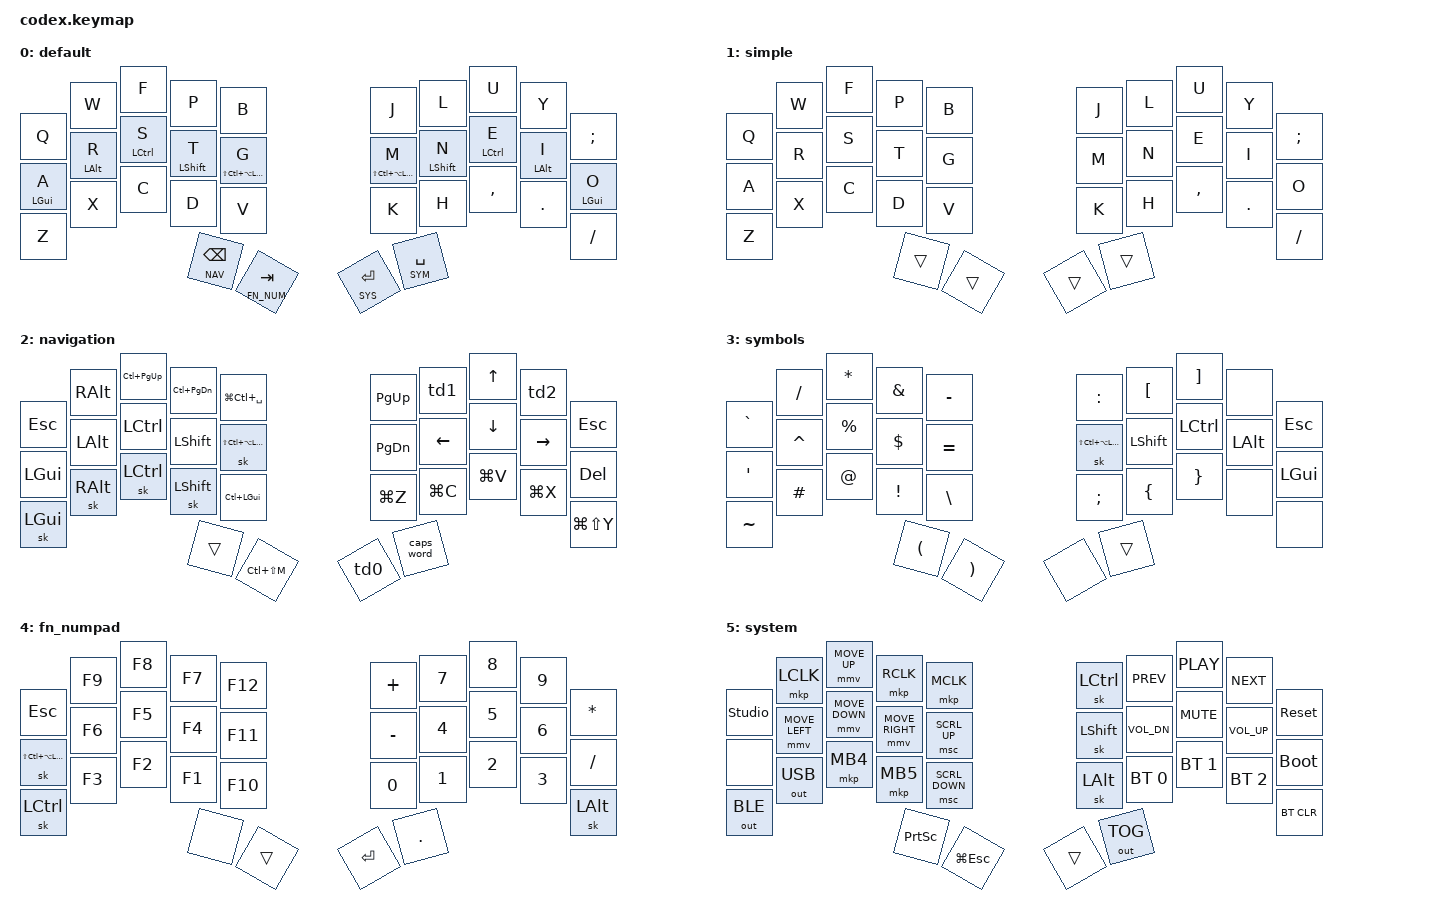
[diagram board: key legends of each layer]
// Copyright (c) 2022 The ZMK Contributors
// SPDX-License-Identifier: MIT

#include <behaviors.dtsi>
#include <dt-bindings/zmk/keys.h>
#include <dt-bindings/zmk/bt.h>
#include <dt-bindings/zmk/outputs.h>
#include <dt-bindings/zmk/ext_power.h>
#include <dt-bindings/zmk/pointing.h>

// Layers
// 0 Default
// 1 Simple Colemak layer without home row mods or layer switching
// 2 Navigation
// 3 Symbols
// 4 Function keys and numpad
// 5 System
#define DEFAULT 0
#define SIMPLE 1
#define NAV 2
#define SYM 3
#define FN_NUM 4
#define SYS 5

// Custom keycodes
#define HYP LS(LC(LA(LGUI)))
#define CWSPACE LG(LC(SPACE))
#define HYPER(key) LS(LC(LA(LG(key))))

// Key positions
#define KEYS_L 0 1 2 3 4 10 11 12 13 14 20 21 22 23 24
#define KEYS_R 5 6 7 8 9 15 16 17 18 19 25 26 27 28 29
#define THUMBS_L 30 31
#define THUMBS_R 32 33

// Make sticky keys lazy so they don't activate until the next key press
&sk {
    lazy;
};

/ {
    behaviors {
        lhrm: left_homerow_mods {
            compatible = "zmk,behavior-hold-tap";
            label = "HOMEROW_MODS";
            #binding-cells = <2>;
            tapping-term-ms = <200>;
            quick-tap-ms = <175>;
            require-prior-idle-ms = <150>;
            flavor = "balanced";
            bindings = <&kp>, <&kp>;
            hold-trigger-key-positions = <KEYS_R THUMBS_L THUMBS_R>;
            hold-trigger-on-release;
        };
        rhrm: right_homerow_mods {
            compatible = "zmk,behavior-hold-tap";
            label = "HOMEROW_MODS";
            #binding-cells = <2>;
            tapping-term-ms = <200>;
            quick-tap-ms = <175>;
            require-prior-idle-ms = <150>;
            flavor = "balanced";
            bindings = <&kp>, <&kp>;
            hold-trigger-key-positions = <KEYS_L THUMBS_L THUMBS_R>;
            hold-trigger-on-release;
        };
        mok: mo_layer_key {
            compatible = "zmk,behavior-hold-tap";
            label = "MO_LAYER_KEY";
            #binding-cells = <2>;
            tapping-term-ms = <200>;
            quick-tap-ms = <150>;
            flavor = "hold-preferred";
            bindings = <&mo>, <&kp>;
        };
        td0: tap_dance_capslock {
            compatible = "zmk,behavior-tap-dance";
            label = "TAP_DANCE_CAPSLOCK";
            #binding-cells = <0>;
            tapping-term-ms = <200>;
            bindings = <&kp ENTER>, <&kp CAPS>;
        };
        td1: tap_dance_home {
            compatible = "zmk,behavior-tap-dance";
            label = "TAP_DANCE_HOME";
            #binding-cells = <0>;
            tapping-term-ms = <200>;
            bindings = <&mt LS(HOME) HOME>, <&kp LC(HOME)>;
        };
        td2: tap_dance_end {
            compatible = "zmk,behavior-tap-dance";
            label = "TAP_DANCE_END";
            #binding-cells = <0>;
            tapping-term-ms = <200>;
            bindings = <&mt LS(END) END>, <&kp LC(END)>;
        };
    };

    macros {
        nxt_sent: nxt_sent {
            label = "ZM_NXT_SENT";
            compatible = "zmk,behavior-macro";
            #binding-cells = <0>;
            bindings
                = <&macro_tap &kp DOT &kp SPACE>
                , <&macro_tap &sk LSHFT>
                ;
        };
    };

    combos {
        compatible = "zmk,combos";
        combo_esc {
            timeout-ms = <50>;
            key-positions = <2 7>;
            bindings = <&kp ESC>;
            layers = <DEFAULT SIMPLE>;
        };
        combo_underscore {
            timeout-ms = <50>;
            key-positions = <23 26>;
            bindings = <&kp UNDER>;
            layers = <DEFAULT SIMPLE>;
        };
        combo_minus {
            timeout-ms = <50>;
            key-positions = <3 6>;
            bindings = <&kp MINUS>;
            layers = <DEFAULT SIMPLE>;
        };
        combo_nxt_sentence {
            timeout-ms = <50>;
            key-positions = <24 25>;
            bindings = <&nxt_sent>;
            layers = <DEFAULT SIMPLE>;
        };
        combo_left_parent {
            timeout-ms = <50>;
            key-positions = <12 13>;
            bindings = <&kp LPAR>;
            layers = <DEFAULT SIMPLE>;
        };
        combo_right_parent {
            timeout-ms = <50>;
            key-positions = <16 17>;
            bindings = <&kp RPAR>;
            layers = <DEFAULT SIMPLE>;
        };
        combo_left_bracket {
            timeout-ms = <50>;
            key-positions = <2 3>;
            bindings = <&kp LBKT>;
            layers = <DEFAULT SIMPLE>;
        };
        combo_right_bracket {
            timeout-ms = <50>;
            key-positions = <6 7>;
            bindings = <&kp RBKT>;
            layers = <DEFAULT SIMPLE>;
        };
        combo_left_brace {
            timeout-ms = <50>;
            key-positions = <22 23>;
            bindings = <&kp LBRC>;
            layers = <DEFAULT SIMPLE>;
        };
        combo_right_brace {
            timeout-ms = <50>;
            key-positions = <26 27>;
            bindings = <&kp RBRC>;
            layers = <DEFAULT SIMPLE>;
        };
        combo_toggle_simple_layer {
            timeout-ms = <50>;
            key-positions = <30 33>;
            bindings = <&tog SIMPLE>;
            layers = <DEFAULT SIMPLE>;
        };
        combo_toggle_numpad_layer {
            timeout-ms = <50>;
            key-positions = <31 32>;
            bindings = <&tog FN_NUM>;
            layers = <DEFAULT FN_NUM>;
        };
    };

    keymap {
        compatible = "zmk,keymap";
        default {
            bindings = <
        //╭0─────────────┬1─────────────┬2─────────────┬3─────────────┬4─────────────╮   ╭5─────────────┬6─────────────┬7─────────────┬8─────────────┬9─────────────╮
           &kp Q          &kp W          &kp F          &kp P          &kp B              &kp J          &kp L          &kp U          &kp Y          &kp SEMI
        //├10────────────┼11────────────┼12────────────┼13────────────┼14────────────┤   ├15────────────┼16────────────┼17────────────┼18────────────┼19────────────┤
           &lhrm LGUI A   &lhrm LALT R   &lhrm LCTRL S  &lhrm LSHIFT T &lhrm HYP G        &rhrm HYP M    &rhrm LSHIFT N &rhrm LCTRL E  &rhrm LALT I   &rhrm LGUI O
        //├20────────────┼21────────────┼22────────────┼23────────────┼24────────────┤   ├25────────────┼26────────────┼27────────────┼28────────────┼29────────────┤
           &kp Z          &kp X          &kp C          &kp D          &kp V              &kp K          &kp H          &kp COMMA      &kp DOT        &kp FSLH
        //╰──────────────┴──────────────┴──────────────┼30────────────┼31────────────┤   ├32────────────┼33────────────┼──────────────┴──────────────┴──────────────╯
                                                        &mok NAV BSPC  &mok FN_NUM TAB    &mok SYS ENTER &mok SYM SPACE
        //                                             ╰──────────────┴──────────────╯   ╰──────────────┴──────────────╯
            >;
        };

        simple {
            bindings = <
        //╭0─────────────┬1─────────────┬2─────────────┬3─────────────┬4─────────────╮   ╭5─────────────┬6─────────────┬7─────────────┬8─────────────┬9─────────────╮
           &kp Q          &kp W          &kp F          &kp P          &kp B              &kp J          &kp L          &kp U          &kp Y          &kp SEMI
        //├10────────────┼11────────────┼12────────────┼13────────────┼14────────────┤   ├15────────────┼16────────────┼17────────────┼18────────────┼19────────────┤
           &kp A          &kp R          &kp S          &kp T          &kp G              &kp M          &kp N          &kp E          &kp I          &kp O
        //├20────────────┼21────────────┼22────────────┼23────────────┼24────────────┤   ├25────────────┼26────────────┼27────────────┼28────────────┼29────────────┤
           &kp Z          &kp X          &kp C          &kp D          &kp V              &kp K          &kp H          &kp COMMA      &kp DOT        &kp FSLH
        //╰──────────────┴──────────────┴──────────────┼30────────────┼31────────────┤   ├32────────────┼33────────────┼──────────────┴──────────────┴──────────────╯
                                                        &trans         &trans             &trans         &trans
        //                                             ╰──────────────┴──────────────╯   ╰──────────────┴──────────────╯
            >;
        };

        navigation {
            bindings = <
        //╭0─────────────┬1─────────────┬2─────────────┬3─────────────┬4─────────────╮   ╭5─────────────┬6─────────────┬7─────────────┬8─────────────┬9─────────────╮
           &kp ESC        &kp RALT       &kp LC(PG_UP)  &kp LC(PG_DN)  &kp CWSPACE        &kp PG_UP      &td1           &kp UP         &td2           &kp ESC
        //├10────────────┼11────────────┼12────────────┼13────────────┼14────────────┤   ├15────────────┼16────────────┼17────────────┼18────────────┼19────────────┤
           &kp LGUI       &kp LALT       &kp LCTRL      &kp LSHIFT     &sk HYP            &kp PG_DN      &kp LEFT       &kp DOWN       &kp RIGHT      &kp DEL
        //├20────────────┼21────────────┼22────────────┼23────────────┼24────────────┤   ├25────────────┼26────────────┼27────────────┼28────────────┼29────────────┤
           &sk LGUI       &sk RALT       &sk LCTRL      &sk LSHIFT     &kp LC(LGUI)       &kp LG(Z)      &kp LG(C)      &kp LG(V)      &kp LG(X)      &kp LG(LS(Y))
        //╰──────────────┴──────────────┴──────────────┼30────────────┼31────────────┤   ├32────────────┼33────────────┼──────────────┴──────────────┴──────────────╯
                                                        &trans         &kp LC(LS(M))      &td0           &caps_word
        //                                             ╰──────────────┴──────────────╯   ╰──────────────┴──────────────╯
            >;
        };

        symbols {
            bindings = <
        //╭0─────────────┬1─────────────┬2─────────────┬3─────────────┬4─────────────╮   ╭5─────────────┬6─────────────┬7─────────────┬8─────────────┬9─────────────╮
           &kp GRAVE      &kp FSLH       &kp ASTRK      &kp AMPS       &kp MINUS          &kp COLON      &kp LBKT       &kp RBKT       &none          &kp ESC
        //├10────────────┼11────────────┼12────────────┼13────────────┼14────────────┤   ├15────────────┼16────────────┼17────────────┼18────────────┼19────────────┤
           &kp APOS       &kp CARET      &kp PERCENT    &kp DLLR       &kp EQUAL          &sk HYP        &kp LSHFT      &kp LCTRL      &kp LALT       &kp LGUI
        //├20────────────┼21────────────┼22────────────┼23────────────┼24────────────┤   ├25────────────┼26────────────┼27────────────┼28────────────┼29────────────┤
           &kp TILDE      &kp HASH       &kp AT         &kp EXCL       &kp BSLH           &kp SEMI       &kp LBRC       &kp RBRC       &none          &none
        //╰──────────────┴──────────────┴──────────────┼30────────────┼31────────────┤   ├32────────────┼33────────────┼──────────────┴──────────────┴──────────────╯
                                                        &kp LPAR       &kp RPAR           &none          &trans
        //                                             ╰──────────────┴──────────────╯   ╰──────────────┴──────────────╯
            >;
        };

        fn_numpad {
            bindings = <
        //╭0─────────────┬1─────────────┬2─────────────┬3─────────────┬4─────────────╮   ╭5─────────────┬6─────────────┬7─────────────┬8─────────────┬9─────────────╮
           &kp ESC        &kp F9         &kp F8         &kp F7         &kp F12            &kp PLUS       &kp N7         &kp N8         &kp N9         &kp ASTRK
        //├10────────────┼11────────────┼12────────────┼13────────────┼14────────────┤   ├15────────────┼16────────────┼17────────────┼18────────────┼19────────────┤
           &sk HYP        &kp F6         &kp F5         &kp F4         &kp F11            &kp MINUS      &kp N4         &kp N5         &kp N6         &kp FSLH
        //├20────────────┼21────────────┼22────────────┼23────────────┼24────────────┤   ├25────────────┼26────────────┼27────────────┼28────────────┼29────────────┤
           &sk LCTRL      &kp F3         &kp F2         &kp F1         &kp F10            &kp N0         &kp N1         &kp N2         &kp N3         &sk LALT
        //╰──────────────┴──────────────┴──────────────┼30────────────┼31────────────┤   ├32────────────┼33────────────┼──────────────┴──────────────┴──────────────╯
                                                        &none          &trans             &kp ENTER      &kp DOT
        //                                             ╰──────────────┴──────────────╯   ╰──────────────┴──────────────╯
            >;
        };

        system {
            bindings = <
        //╭0─────────────┬1─────────────┬2─────────────┬3─────────────┬4─────────────╮   ╭5─────────────┬6─────────────┬7─────────────┬8─────────────┬9─────────────╮
           &studio_unlock &mkp LCLK      &mmv MOVE_UP   &mkp RCLK     &mkp MCLK           &sk LCTRL      &kp C_PREV     &kp C_PLAY     &kp C_NEXT     &sys_reset
        //├10────────────┼11────────────┼12────────────┼13────────────┼14────────────┤   ├15────────────┼16────────────┼17────────────┼18────────────┼19────────────┤
           &none          &mmv MOVE_LEFT &mmv MOVE_DOWN &mmv MOVE_RIGHT &msc SCRL_UP      &sk LSHFT      &kp C_VOL_DN   &kp C_MUTE     &kp C_VOL_UP   &bootloader
        //├20────────────┼21────────────┼22────────────┼23────────────┼24────────────┤   ├25────────────┼26────────────┼27────────────┼28────────────┼29────────────┤
           &out OUT_BLE   &out OUT_USB   &mkp MB4       &mkp MB5      &msc SCRL_DOWN      &sk LALT       &bt BT_SEL 0   &bt BT_SEL 1   &bt BT_SEL 2   &bt BT_CLR
        //╰──────────────┴──────────────┴──────────────┼30────────────┼31────────────┤   ├32────────────┼33────────────┼──────────────┴──────────────┴──────────────╯
                                                        &kp PSCRN      &kp LG(ESC)        &trans         &out OUT_TOG
        //                                             ╰──────────────┴──────────────╯   ╰──────────────┴──────────────╯
            >;
        };
    };
};
